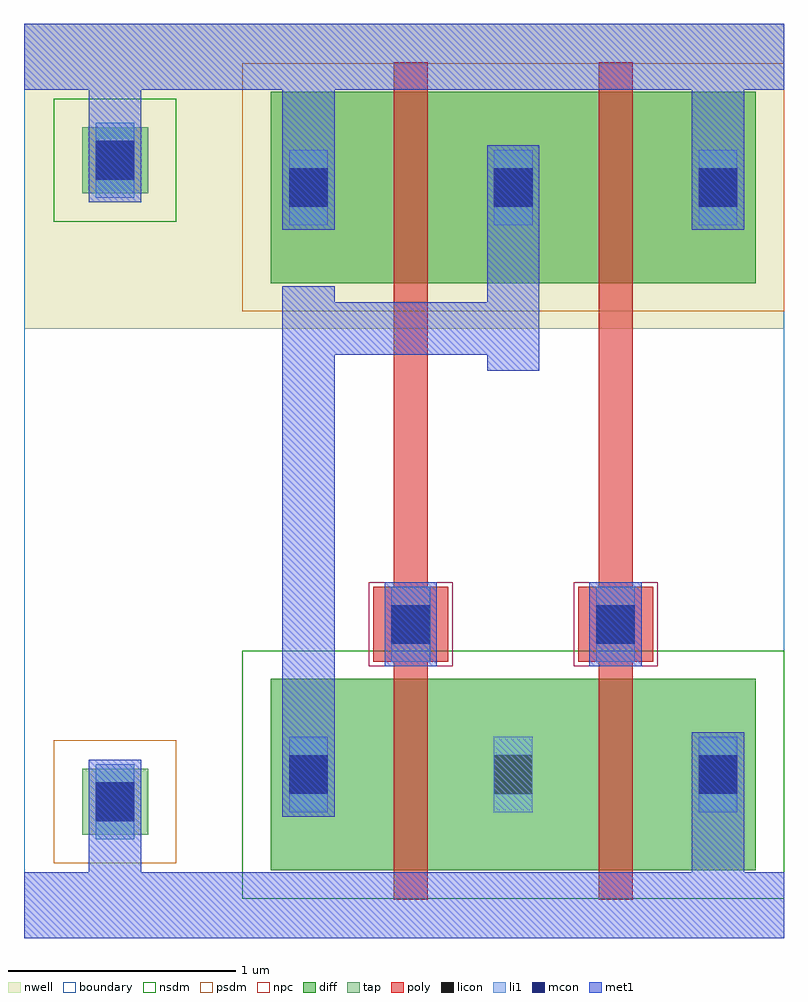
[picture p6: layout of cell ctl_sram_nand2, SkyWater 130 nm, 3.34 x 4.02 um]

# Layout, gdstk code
import gdstk
lib = gdstk.Library(unit=1e-6, precision=1e-09)
def R(c, l, rs):  # rectangles x0, y0, x1, y1
    for r in rs: c.add(gdstk.rectangle(r[:2], r[2:], *l))
def A(c, l, x, y, w, h, nx, ny, dx, dy):  # array of equal rectangles
    R(c, l, [(x+i*dx, y+j*dy, x+i*dx+w, y+j*dy+h) for i in range(nx) for j in range(ny)])
nwell = (64, 20)
diff = (65, 20)
tap = (65, 44)
poly = (66, 20)
licon = (66, 44)
li1 = (67, 20)
mcon = (67, 44)
met1 = (68, 20)
nsdm = (93, 44)
psdm = (94, 20)
npc = (95, 20)
boundary = (235, 4)

ctl_sram_nand2 = lib.new_cell('ctl_sram_nand2')
R(ctl_sram_nand2, nwell, [(0,2.68,3.34,4.02)])
R(ctl_sram_nand2, diff, [(1.085,0.3,3.215,1.14), (1.085,2.88,3.215,3.72)])
R(ctl_sram_nand2, tap, [(0.255,0.455,0.545,0.745), (0.255,3.275,0.545,3.565)])
R(ctl_sram_nand2, poly, [(1.625,0.17,1.775,3.85), (2.525,0.17,2.675,3.85), (1.535,1.215,1.865,1.545), (2.435,1.215,2.765,1.545)])
A(ctl_sram_nand2, licon, 1.165, 0.635, 0.17, 0.17, 3, 2, 0.9, 2.58)
R(ctl_sram_nand2, licon, [(0.315,0.515,0.485,0.685), (1.615,1.295,1.785,1.465), (2.515,1.295,2.685,1.465), (0.315,3.335,0.485,3.505)])
A(ctl_sram_nand2, li1, 1.165, 0.555, 0.17, 0.33, 3, 2, 0.9, 2.58)
R(ctl_sram_nand2, li1, [(0.315,0.435,0.485,0.765), (1.615,1.215,1.785,1.545), (2.515,1.215,2.685,1.545), (0.315,3.255,0.485,3.585)])
A(ctl_sram_nand2, mcon, 1.165, 3.215, 0.17, 0.17, 3, 1, 0.9, 0)
R(ctl_sram_nand2, mcon, [(0.315,0.515,0.485,0.685), (1.165,0.635,1.335,0.805), (2.965,0.635,3.135,0.805), (1.615,1.295,1.785,1.465), (2.515,1.295,2.685,1.465), (0.315,3.335,0.485,3.505)])
R(ctl_sram_nand2, met1, [(0,0,3.34,0.29), (0.285,0.145,0.515,0.6), (2.935,0.145,3.165,0.905), (0.285,0.415,0.515,0.785), (1.135,0.535,1.365,2.865), (1.585,1.195,1.815,1.565), (2.485,1.195,2.715,1.565), (2.035,2.495,2.265,3.485), (1.135,2.565,2.265,2.795), (1.135,3.115,1.365,3.875), (2.935,3.115,3.165,3.875), (0.285,3.235,0.515,3.605), (0.285,3.42,0.515,3.875), (0,3.73,3.34,4.02)])
R(ctl_sram_nand2, nsdm, [(0.96,0.175,3.34,1.265), (0.13,3.15,0.67,3.69)])
R(ctl_sram_nand2, psdm, [(0.13,0.33,0.67,0.87), (0.96,2.755,3.34,3.845)])
R(ctl_sram_nand2, npc, [(1.515,1.195,1.885,1.565), (2.415,1.195,2.785,1.565)])
R(ctl_sram_nand2, boundary, [(0,0,3.34,4.02)])

lib.write_gds('ctl_sram_nand2.gds')
